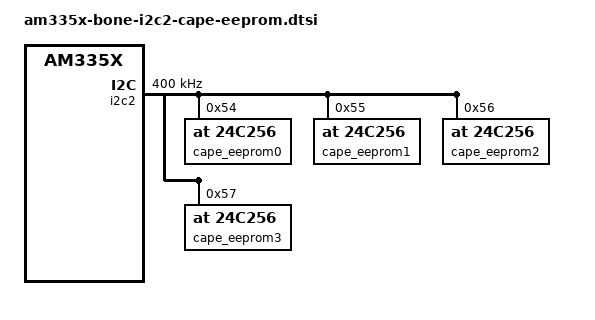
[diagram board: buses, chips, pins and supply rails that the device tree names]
/*
 * Copyright (C) 2012 Texas Instruments Incorporated - http://www.ti.com/
 *
 * This program is free software; you can redistribute it and/or modify
 * it under the terms of the GNU General Public License version 2 as
 * published by the Free Software Foundation.
 */



&am33xx_pinmux {
	i2c2_pins: pinmux_i2c2_pins {
		pinctrl-single,pins = <
			0x17c 0x73
			0x178 0x73
		>;
	};

};

&i2c2 {
	status = "okay";
	pinctrl-names = "default";
	pinctrl-0 = <&i2c2_pins>;

	clock-frequency = <400000>;

	cape_eeprom0: cape_eeprom0@54 {
		compatible = "at,24c256";
		reg = <0x54>;
	};

	cape_eeprom1: cape_eeprom1@55 {
		compatible = "at,24c256";
		reg = <0x55>;
	};

	cape_eeprom2: cape_eeprom2@56 {
		compatible = "at,24c256";
		reg = <0x56>;
	};

	cape_eeprom3: cape_eeprom3@57 {
		compatible = "at,24c256";
		reg = <0x57>;
	};
};
